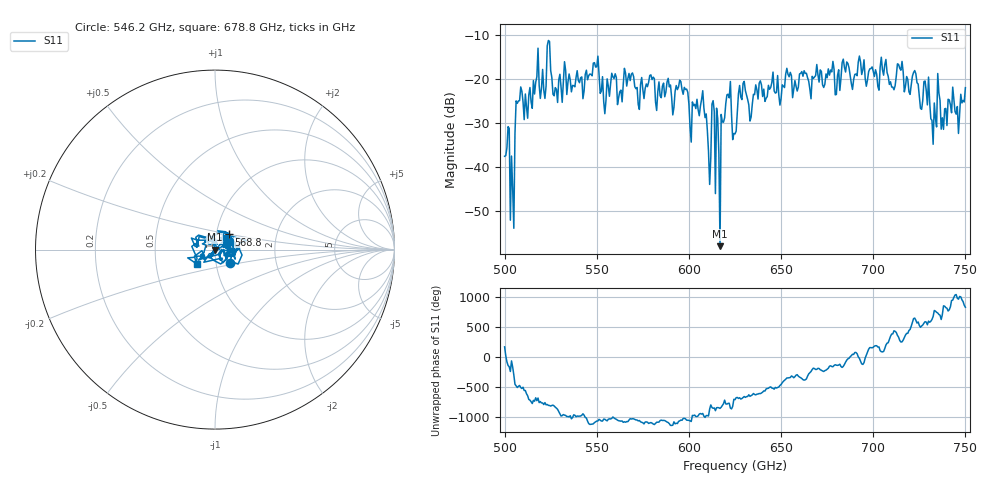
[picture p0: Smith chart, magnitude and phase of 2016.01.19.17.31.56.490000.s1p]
!Created with skrf (http://scikit-rf.org).
# GHz S RI R 50.0
!freq ReS11 ImS11
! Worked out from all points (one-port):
!   401 points, 500 GHz to 750 GHz, reference 50 ohm
!   lowest |S11| = -58.0 dB at 616.9 GHz (marker M1), VSWR 1.00, Z = 49.9 - j0.0878 ohm
!   |S11| at or under -10 dB: start of sweep to end of sweep
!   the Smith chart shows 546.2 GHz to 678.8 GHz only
!   S11 on the Smith chart (normalised r, x): 546.2 GHz: 1.17, -0.18; 568.8 GHz: 1.15, +0.20; 678.8 GHz: 0.81, -0.13
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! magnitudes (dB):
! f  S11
! 500 GHz  -37.6
! 501.2 GHz  -35.7
! 504.4 GHz  -44.9
! 507.5 GHz  -25.0
! 520.6 GHz  -17.8
! 524.4 GHz  -11.4
! 527.5 GHz  -22.0
! 531.2 GHz  -25.3
! 546.2 GHz  -18.9
! 562.5 GHz  -22.9
! 568.8 GHz  -18.9
! 593.8 GHz  -22.4
! 608.1 GHz  -26.6
! 610.6 GHz  -36.5
! 613.8 GHz  -27.3
! 615.6 GHz  -29.0
! 616.9 GHz  -58.0
! 621.2 GHz  -23.5
! 625 GHz  -32.5
! 628.8 GHz  -24.7
! 633.1 GHz  -29.6
! 656.2 GHz  -24.2
! 678.8 GHz  -17.8
! 687.5 GHz  -19.2
! 718.8 GHz  -20.1
! 728.8 GHz  -22.5
! 733.1 GHz  -25.4
! 750 GHz  -22.0
